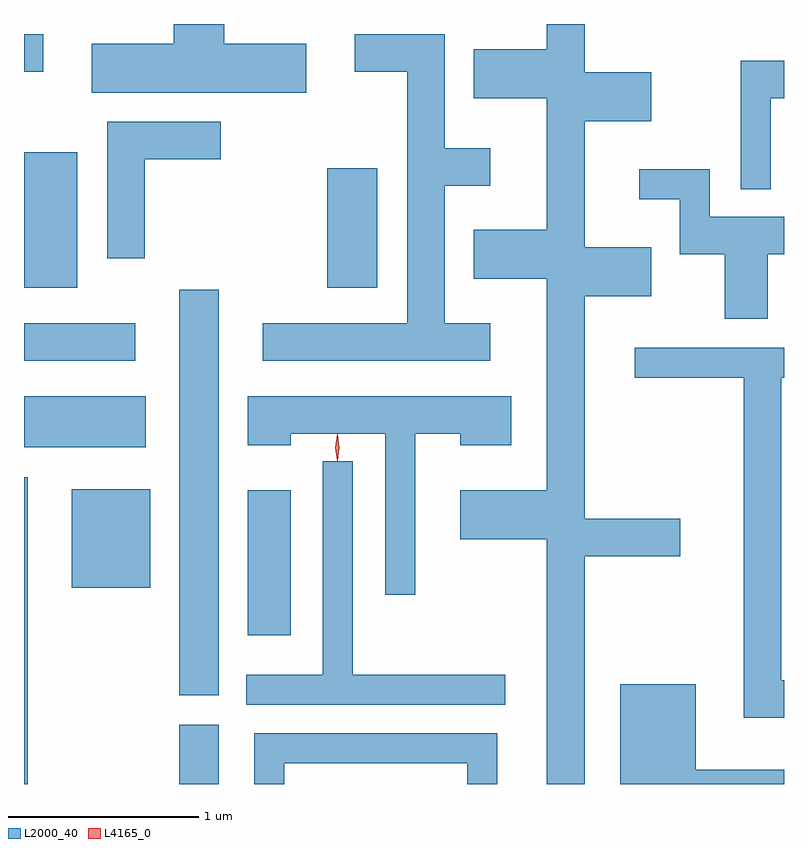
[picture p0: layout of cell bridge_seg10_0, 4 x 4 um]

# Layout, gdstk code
import gdstk
lib = gdstk.Library(unit=1e-6, precision=1e-09)
def R(c, l, rs):  # rectangles x0, y0, x1, y1
    for r in rs: c.add(gdstk.rectangle(r[:2], r[2:], *l))
def P(c, l, *ps):  # polygons
    for p in ps: c.add(gdstk.Polygon(p, *l))
L2000_40 = (2000, 40)
L4165_0 = (4165, 0)

bridge_seg10_0 = lib.new_cell('bridge_seg10_0')
R(bridge_seg10_0, L2000_40, [(1882.119,2207.833,1882.139,2209.448), (1882.936,2207.833,1883.144,2208.144), (1882.936,2208.301,1883.144,2210.434), (1883.296,2208.616,1883.524,2209.379), (1882.371,2208.866,1882.784,2209.384), (1882.119,2209.606,1882.759,2209.874), (1882.119,2210.061,1882.704,2210.259), (1882.119,2210.446,1882.399,2211.159), (1883.716,2210.446,1883.979,2211.074), (1882.119,2211.581,1882.219,2211.779)])
P(bridge_seg10_0, L2000_40, [(1885.069,2209.031),(1885.574,2209.031),(1885.574,2209.229),(1885.069,2209.229),(1885.069,2210.401),(1885.419,2210.401),(1885.419,2210.659),(1885.069,2210.659),(1885.069,2211.321),(1885.419,2211.321),(1885.419,2211.579),(1885.069,2211.579),(1885.069,2211.833),(1884.871,2211.833),(1884.871,2211.699),(1884.486,2211.699),(1884.486,2211.441),(1884.871,2211.441),(1884.871,2210.749),(1884.486,2210.749),(1884.486,2210.491),(1884.871,2210.491),(1884.871,2209.379),(1884.416,2209.379),(1884.416,2209.121),(1884.871,2209.121),(1884.871,2207.833),(1885.069,2207.833)],
  [(1883.604,2211.729),(1883.174,2211.729),(1883.174,2211.833),(1882.906,2211.833),(1882.906,2211.729),(1882.476,2211.729),(1882.476,2211.471),(1883.604,2211.471)],
  [(1884.574,2210.259),(1884.334,2210.259),(1884.334,2210.981),(1884.574,2210.981),(1884.574,2211.179),(1884.334,2211.179),(1884.334,2211.779),(1883.861,2211.779),(1883.861,2211.581),(1884.136,2211.581),(1884.136,2210.259),(1883.376,2210.259),(1883.376,2210.061),(1884.574,2210.061)],
  [(1886.049,2211.441),(1886.119,2211.441),(1886.119,2211.639),(1885.891,2211.639),(1885.891,2210.963),(1886.049,2210.963)],
  [(1882.754,2211.121),(1883.154,2211.121),(1883.154,2211.319),(1882.556,2211.319),(1882.556,2210.601),(1882.754,2210.601)],
  [(1886.034,2210.621),(1886.119,2210.621),(1886.119,2210.819),(1885.729,2210.819),(1885.729,2211.069),(1885.358,2211.069),(1885.358,2210.911),(1885.571,2210.911),(1885.571,2210.621),(1885.806,2210.621),(1885.806,2210.281),(1886.034,2210.281)],
  [(1886.119,2208.379),(1886.104,2208.379),(1886.104,2209.971),(1886.119,2209.971),(1886.119,2210.129),(1885.333,2210.129),(1885.333,2209.971),(1885.906,2209.971),(1885.906,2208.181),(1886.119,2208.181)],
  [(1884.179,2209.676),(1884.416,2209.676),(1884.416,2209.616),(1884.684,2209.616),(1884.684,2209.874),(1883.296,2209.874),(1883.296,2209.616),(1883.524,2209.616),(1883.524,2209.676),(1884.021,2209.676),(1884.021,2208.828),(1884.179,2208.828)],
  [(1884.653,2208.409),(1883.849,2208.409),(1883.849,2209.533),(1883.691,2209.533),(1883.691,2208.409),(1883.288,2208.409),(1883.288,2208.251),(1884.653,2208.251)],
  [(1886.119,2207.909),(1885.654,2207.909),(1885.654,2208.359),(1885.256,2208.359),(1885.256,2207.833),(1886.119,2207.833)],
  [(1883.489,2207.941),(1884.451,2207.941),(1884.451,2207.833),(1884.609,2207.833),(1884.609,2208.099),(1883.331,2208.099),(1883.331,2207.833),(1883.489,2207.833)])
P(bridge_seg10_0, L4165_0, [(1883.768,2209.534),(1883.768,2209.534),(1883.758,2209.604),(1883.768,2209.673),(1883.768,2209.673),(1883.769,2209.673),(1883.778,2209.604),(1883.769,2209.534)])

lib.write_gds('bridge_seg10_0.gds')
